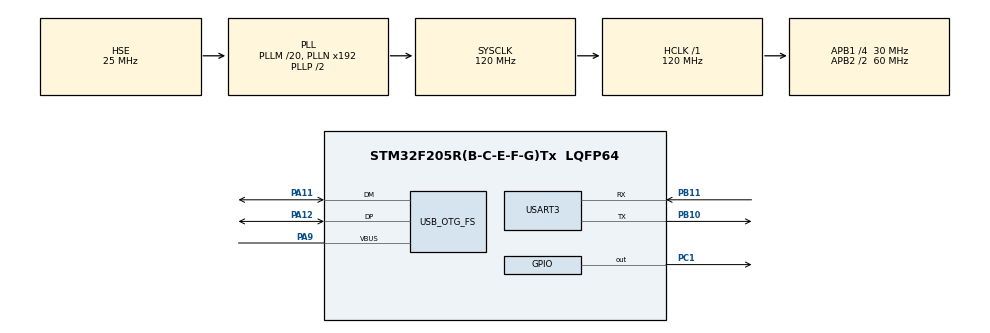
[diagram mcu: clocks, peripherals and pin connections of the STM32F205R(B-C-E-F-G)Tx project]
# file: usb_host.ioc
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Mcu.Family=STM32F2
Mcu.Name=STM32F205R(B-C-E-F-G)Tx
Mcu.Package=LQFP64
NVIC.OTG_FS_IRQn=true\:0\:0\:false\:false\:true\:true\:true\:true
NVIC.PriorityGroup=NVIC_PRIORITYGROUP_4
NVIC.USART3_IRQn=true\:0\:0\:false\:false\:true\:true\:true\:true
PA11.Mode=Host_Only
PA11.Signal=USB_OTG_FS_DM
PA12.Mode=Host_Only
PA12.Signal=USB_OTG_FS_DP
PA9.Mode=Activate_VBUS
PA9.Signal=USB_OTG_FS_VBUS
PB10.Mode=Asynchronous
PB10.Signal=USART3_TX
PB11.Mode=Asynchronous
PB11.Signal=USART3_RX
PC1.Signal=GPIO_Output
PC14-OSC32_IN.Mode=LSE-External-Oscillator
PC14-OSC32_IN.Signal=RCC_OSC32_IN
PC15-OSC32_OUT.Mode=LSE-External-Oscillator
PC15-OSC32_OUT.Signal=RCC_OSC32_OUT
PH0-OSC_IN.Mode=HSE-External-Oscillator
PH0-OSC_IN.Signal=RCC_OSC_IN
PH1-OSC_OUT.Mode=HSE-External-Oscillator
PH1-OSC_OUT.Signal=RCC_OSC_OUT
ProjectManager.HeapSize=0x200
ProjectManager.StackSize=0x400
ProjectManager.TargetToolchain=STM32CubeIDE
RCC.48MHZClocksFreq_Value=48000000
RCC.AHBFreq_Value=120000000
RCC.APB1CLKDivider=RCC_HCLK_DIV4
RCC.APB1Freq_Value=30000000
RCC.APB1TimFreq_Value=60000000
RCC.APB2CLKDivider=RCC_HCLK_DIV2
RCC.APB2Freq_Value=60000000
RCC.APB2TimFreq_Value=120000000
RCC.CortexFreq_Value=120000000
RCC.HCLKFreq_Value=120000000
RCC.HSE_VALUE=25000000
RCC.HSI_VALUE=16000000
RCC.PLLM=20
RCC.PLLQ=5
RCC.PLLSourceVirtual=RCC_PLLSOURCE_HSE
RCC.SYSCLKFreq_VALUE=120000000
RCC.SYSCLKSource=RCC_SYSCLKSOURCE_PLLCLK
RCC.VCOOutputFreq_Value=240000000
USART3.Parity=PARITY_EVEN
USART3.VirtualMode=VM_ASYNC
USART3.WordLength=WORDLENGTH_9B
USB_HOST.BSP.number=1
USB_HOST.USBH_DEBUG_LEVEL-HID_FS=3
USB_HOST.USBH_HandleTypeDef-HID_FS=hUsbHostFS
USB_HOST.VirtualModeFS=Hid
USB_HOST0.BSP.STBoard=false
USB_HOST0.BSP.api=Unknown
USB_HOST0.BSP.instance=PC1
USB_HOST0.BSP.ip=GPIO
USB_HOST0.BSP.mode=Output
USB_HOST0.BSP.name=Drive_VBUS_FS
USB_HOST0.BSP.solution=PC1
USB_OTG_FS.VirtualMode=Host_Only
USB_OTG_FS.phy_itface=HCD_PHY_EMBEDDED
VP_USB_HOST_VS_USB_HOST_HID_FS.Mode=HID_FS
board=custom

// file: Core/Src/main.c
/* USER CODE BEGIN Header */
/**
  ******************************************************************************
  * @file           : main.c
  * @brief          : Main program body
  ******************************************************************************
  * @attention
  *
  * Copyright (c) 2023 STMicroelectronics.
  * All rights reserved.
  *
  * This software is licensed under terms that can be found in the LICENSE file
  * in the root directory of this software component.
  * If no LICENSE file comes with this software, it is provided AS-IS.
  *
  ******************************************************************************
  */
/* USER CODE END Header */
#include "main.h"
#include "usb_host.h"

/* USER CODE BEGIN Includes */
#include <stdio.h>
#include "usbh_hid.h"

/* USER CODE END Includes */

UART_HandleTypeDef huart3;

void SystemClock_Config(void);
static void MX_GPIO_Init(void);
static void MX_USART3_UART_Init(void);
void MX_USB_HOST_Process(void);

/* USER CODE BEGIN PFP */
/**
  * @brief  This function is executed when call printf()
  * @retval lenth of the massage
  */
int _write(int file, char *ptr, int len) {
	HAL_UART_Transmit_IT(&huart3, (uint8_t*)ptr, len);
	return len;
}

void USBH_HID_EventCallback(USBH_HandleTypeDef *phost) {
	if (USBH_HID_GetDeviceType(phost) == HID_KEYBOARD) {
		HID_KEYBD_Info_TypeDef *Keybd_data;
		Keybd_data = USBH_HID_GetKeybdInfo(phost);
		char Key = USBH_HID_GetASCIICode(Keybd_data);
		printf("Key pressed: %c \n", Key);
	}
	else if (USBH_HID_GetDeviceType(phost) == HID_MOUSE) {
		HID_MOUSE_Info_TypeDef *Mouse_data;
		Mouse_data = USBH_HID_GetMouseInfo(phost);
		printf("X: %d, Y: %d, Button1: %d, Button2: %d, Button3: %d \n", Mouse_data->x,Mouse_data->y, \
				Mouse_data->buttons[0], Mouse_data->buttons[1], Mouse_data->buttons[2]);
	}
	else if (USBH_HID_GetDeviceType(phost) == HID_UNKNOWN) {
		printf("USB Unknown! \n");
	}
}
/* USER CODE END PFP */

int main(void)
{

  /* MCU Configuration--------------------------------------------------------*/

  /* Reset of all peripherals, Initializes the Flash interface and the Systick. */
  HAL_Init();

  /* Configure the system clock */
  SystemClock_Config();

  /* Initialize all configured peripherals */
  MX_GPIO_Init();
  MX_USART3_UART_Init();
  MX_USB_HOST_Init();
  /* USER CODE BEGIN 2 */
  HAL_GPIO_WritePin(GPIOC, GPIO_PIN_1, GPIO_PIN_RESET);

  /* USER CODE END 2 */

  /* Infinite loop */
  while (1)
  {
    MX_USB_HOST_Process();

  }
}

void SystemClock_Config(void)
{
  RCC_OscInitTypeDef RCC_OscInitStruct = {0};
  RCC_ClkInitTypeDef RCC_ClkInitStruct = {0};

  /** Initializes the RCC Oscillators according to the specified parameters
  * in the RCC_OscInitTypeDef structure.
  */
  RCC_OscInitStruct.OscillatorType = RCC_OSCILLATORTYPE_HSE;
  RCC_OscInitStruct.HSEState = RCC_HSE_ON;
  RCC_OscInitStruct.PLL.PLLState = RCC_PLL_ON;
  RCC_OscInitStruct.PLL.PLLSource = RCC_PLLSOURCE_HSE;
  RCC_OscInitStruct.PLL.PLLM = 20;
  RCC_OscInitStruct.PLL.PLLN = 192;
  RCC_OscInitStruct.PLL.PLLP = RCC_PLLP_DIV2;
  RCC_OscInitStruct.PLL.PLLQ = 5;
  if (HAL_RCC_OscConfig(&RCC_OscInitStruct) != HAL_OK)
  {
    Error_Handler();
  }

  /** Initializes the CPU, AHB and APB buses clocks
  */
  RCC_ClkInitStruct.ClockType = RCC_CLOCKTYPE_HCLK|RCC_CLOCKTYPE_SYSCLK
                              |RCC_CLOCKTYPE_PCLK1|RCC_CLOCKTYPE_PCLK2;
  RCC_ClkInitStruct.SYSCLKSource = RCC_SYSCLKSOURCE_PLLCLK;
  RCC_ClkInitStruct.AHBCLKDivider = RCC_SYSCLK_DIV1;
  RCC_ClkInitStruct.APB1CLKDivider = RCC_HCLK_DIV4;
  RCC_ClkInitStruct.APB2CLKDivider = RCC_HCLK_DIV2;

  if (HAL_RCC_ClockConfig(&RCC_ClkInitStruct, FLASH_LATENCY_3) != HAL_OK)
  {
    Error_Handler();
  }
}

static void MX_USART3_UART_Init(void)
{

  huart3.Instance = USART3;
  huart3.Init.BaudRate = 115200;
  huart3.Init.WordLength = UART_WORDLENGTH_9B;
  huart3.Init.StopBits = UART_STOPBITS_1;
  huart3.Init.Parity = UART_PARITY_EVEN;
  huart3.Init.Mode = UART_MODE_TX_RX;
  huart3.Init.HwFlowCtl = UART_HWCONTROL_NONE;
  huart3.Init.OverSampling = UART_OVERSAMPLING_16;
  if (HAL_UART_Init(&huart3) != HAL_OK)
  {
    Error_Handler();
  }

}

static void MX_GPIO_Init(void)
{
  GPIO_InitTypeDef GPIO_InitStruct = {0};

  /* GPIO Ports Clock Enable */
  __HAL_RCC_GPIOC_CLK_ENABLE();
  __HAL_RCC_GPIOH_CLK_ENABLE();
  __HAL_RCC_GPIOB_CLK_ENABLE();
  __HAL_RCC_GPIOA_CLK_ENABLE();

  /*Configure GPIO pin Output Level */
  HAL_GPIO_WritePin(GPIOC, GPIO_PIN_1, GPIO_PIN_RESET);

  /*Configure GPIO pin : PC1 */
  GPIO_InitStruct.Pin = GPIO_PIN_1;
  GPIO_InitStruct.Mode = GPIO_MODE_OUTPUT_PP;
  GPIO_InitStruct.Pull = GPIO_NOPULL;
  GPIO_InitStruct.Speed = GPIO_SPEED_FREQ_LOW;
  HAL_GPIO_Init(GPIOC, &GPIO_InitStruct);

}

void Error_Handler(void)
{
  __disable_irq();
  while (1)
  {
  }
}
